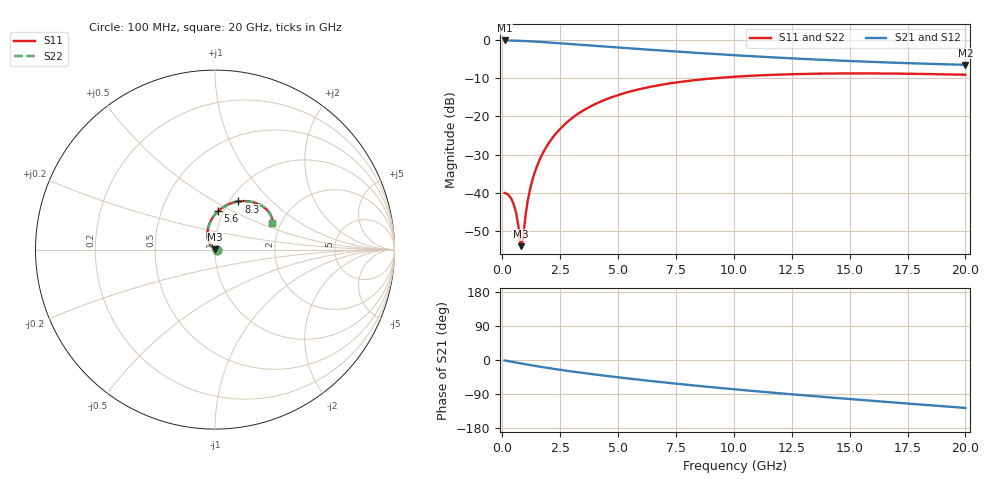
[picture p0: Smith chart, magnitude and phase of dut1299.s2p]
! Touchstone file exported from HFSS 2024.1.0
!  File:  C:/UserFiles/LocalFiles/RDL_TSV_Batchsim/temp_RDL_TSV_1299_1780281733.aedt
!  Generated:  10:53:14 AM Jun  1, 2026
!  Design:  RDL_TSV
!  Project:  temp_RDL_TSV_1299_1780281733
!  Setup:  Setup1
!  Solution:  Sweep
! Variables:
!  dtsv = 7.86um
!  hbump = 3um
!  htsv = 81.29um
!  ldown = 197.68um
!  lrdl = 216.13um
!  p = 40
!  p1 = 47.87um
!  rhole = 10um
!  subl = 1457.56um
!  t = 450um
!  tdown = 4.13um
!  trdl = 3.59um
!  viad = 10um
!  wdown = 21.68um
!  wrdl = 13.2um
!  xbump = 18um
# GHz S MA R 50.000000
! Terminal data exported
! Port[1] = TM1_1_T1
! Port[2] = TM1_4_T1
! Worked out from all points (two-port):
!   200 points, 100 MHz to 20 GHz, reference 50 ohm
!   highest |S21| = -0.09 dB at 100 MHz (marker M1); lowest = -6.5 dB at 20 GHz (marker M2)
!   |S21| within 3 dB of the highest: start of sweep to 7.756 GHz
!   lowest |S11| = -54.0 dB at 800 MHz (marker M3), VSWR 1.00, Z = 50.1 + j0.139 ohm
!   |S11| at or under -10 dB: start of sweep to 9.149 GHz
!   |S22| runs from -54.0 to -8.8 dB; largest |S21 - S12| = 2.4e-14
!   S11 on the Smith chart (normalised r, x): 100 MHz: 1.02, +0.00; 5.6 GHz: 0.94, +0.42; 8.3 GHz: 1.10, +0.65; 20 GHz: 1.80, +0.61
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0.1  0.009921 0.5  0.9897 -1.2  0.9897 -1.2  0.009922 0.5
! Gamma 0 0 0 0
! Port Impedance 50 0 50 0
0.3  0.009105 0.3  0.9877 -3.5  0.9877 -3.5  0.009108 0.3
0.5  0.006959 0.5  0.9844 -5.7  0.9844 -5.7  0.006968 0.5
0.6  0.005396 3.0  0.9823 -6.8  0.9823 -6.8  0.005408 2.9
0.7  0.003603 11.4  0.98 -8.0  0.98 -8.0  0.003617 11.2
0.8  0.001991 44.3  0.9774 -9.1  0.9774 -9.1  0.001999 43.6
0.9  0.002502 110.8  0.9745 -10.1  0.9745 -10.1  0.002481 110.4
1  0.004919 133.3  0.9714 -11.2  0.9714 -11.2  0.004885 133.2
1.1  0.007885 139.5  0.9681 -12.3  0.9681 -12.3  0.007843 139.5
1.2  0.01116 141.3  0.9646 -13.3  0.9646 -13.3  0.01111 141.3
1.4  0.01842 140.8  0.957 -15.4  0.957 -15.4  0.01836 140.8
1.6  0.02647 138.5  0.9488 -17.4  0.9488 -17.4  0.02638 138.5
2  0.04433 132.4  0.9313 -21.3  0.9313 -21.3  0.04421 132.4
2.4  0.06378 125.9  0.9129 -25.0  0.9129 -25.0  0.06362 125.9
3.5  0.1198 109.4  0.8626 -34.3  0.8626 -34.3  0.1195 109.4
5.6  0.2151 85.3  0.7762 -49.9  0.7762 -49.9  0.2146 85.3
6.8  0.2575 74.8  0.7326 -57.9  0.7326 -57.9  0.2569 74.8
8.3  0.2984 64.0  0.6835 -67.3  0.6835 -67.3  0.2977 64.0
10.1  0.3322 53.6  0.6324 -77.8  0.6324 -77.8  0.3315 53.6
13.4  0.3621 39.7  0.5592 -95.1  0.5592 -95.1  0.3612 39.7
16.7  0.3646 30.5  0.5084 -111.1  0.5084 -111.1  0.3637 30.5
20  0.3517 25.1  0.4742 -126.5  0.4742 -126.5  0.3508 25.1
